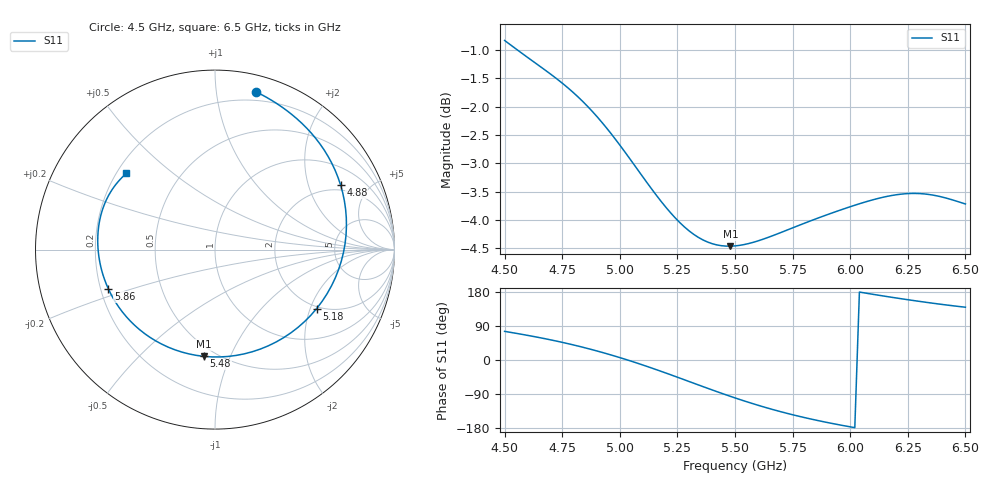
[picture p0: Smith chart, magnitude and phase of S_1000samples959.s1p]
! TOUCHSTONE file generated by CST MICROWAVE STUDIO
! Date and time: Sat Oct 29 22:24:55 2022
! Project name: L.cst
! Parameters = {Di=1.27; Epsilon_r=1.56; InnerDiameter=1.27; Length=2; Lf=10; Lg=60; OuterConductorThickness=0.2921; OuterDiameter=3.6; Wf=3; Wp=41.2; de=1.5; df=6.8; g=0.8; gx=4.72155; gy=1.05469; h=2.34; hf=1.524; px=13.5943; py=9.02865; w=9.7; wx=8.87277; wy=7.97396}
! Header version: 2018
! Port assignment regex: !\s*Touchstone port\s*([0-9]+)\s*=\s*(CST MWS port|CST DS port)\s*([0-9]+|Zmin|Zmax)\s*\(\"(.*)\"\)(\s*mode\s*([0-9]+))?.*
! Touchstone port assignment:
! Touchstone port 1 = CST MWS port 1 ("")
# GHz S DB R 50
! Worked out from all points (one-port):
!   101 points, 4.5 GHz to 6.5 GHz, reference 50 ohm
!   lowest |S11| = -4.5 dB at 5.48 GHz (marker M1), VSWR 3.98, Z = 21.7 - j40.2 ohm
!   |S11| at or under -10 dB: nowhere
!   S11 on the Smith chart (normalised r, x): 4.5 GHz: 0.13, +1.28; 4.88 GHz: 1.73, +3.27; 5.18 GHz: 1.93, -2.22; 5.48 GHz: 0.43, -0.80; 5.86 GHz: 0.23, -0.17; 6.5 GHz: 0.24, +0.35
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4.5  -0.83 75.6
4.64  -1.25 60.4
4.7  -1.43 53.1
4.76  -1.62 45.2
4.82  -1.83 36.6
4.88  -2.08 27.2
4.94  -2.37 17.2
5  -2.68 6.3
5.08  -3.13 -9.2
5.12  -3.35 -17.4
5.18  -3.68 -30.1
5.26  -4.05 -47.7
5.32  -4.25 -61.1
5.36  -4.35 -70.0
5.42  -4.44 -83.2
5.48  -4.46 -95.9
5.5  -4.46 -100.0
5.56  -4.42 -111.9
5.64  -4.32 -126.6
5.7  -4.22 -136.6
5.76  -4.13 -145.9
5.86  -3.97 -159.8
5.92  -3.88 -167.3
6  -3.77 -176.4
6.12  -3.62 171.3
6.26  -3.53 158.2
6.38  -3.58 148.1
6.5  -3.72 139.3
